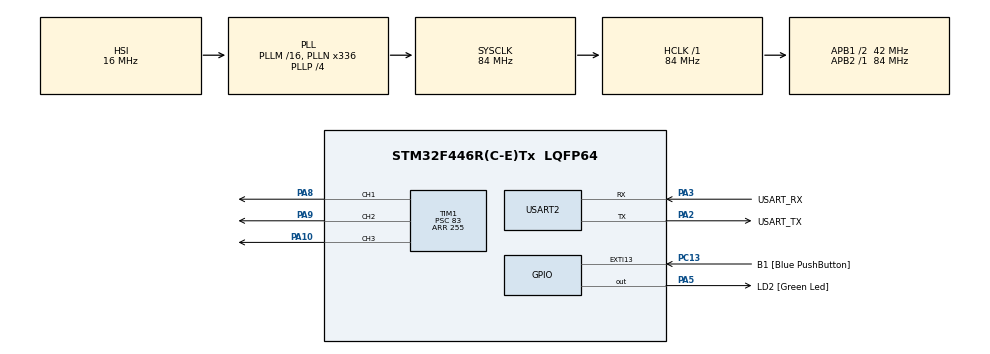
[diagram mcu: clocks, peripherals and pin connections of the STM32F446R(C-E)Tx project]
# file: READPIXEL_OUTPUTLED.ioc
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Mcu.Family=STM32F4
Mcu.Name=STM32F446R(C-E)Tx
Mcu.Package=LQFP64
NVIC.PriorityGroup=NVIC_PRIORITYGROUP_0
NVIC.USART2_IRQn=true\:0\:0\:false\:false\:true\:true\:true\:true
PA10.Signal=S_TIM1_CH3
PA13.GPIO_Label=TMS
PA13.Mode=Serial_Wire
PA13.Signal=SYS_JTMS-SWDIO
PA14.GPIO_Label=TCK
PA14.Mode=Serial_Wire
PA14.Signal=SYS_JTCK-SWCLK
PA2.GPIO_Label=USART_TX
PA2.Mode=Asynchronous
PA2.Signal=USART2_TX
PA3.GPIO_Label=USART_RX
PA3.Mode=Asynchronous
PA3.Signal=USART2_RX
PA5.GPIO_Label=LD2 [Green Led]
PA5.Signal=GPIO_Output
PA8.Signal=S_TIM1_CH1
PA9.Signal=S_TIM1_CH2
PB3.GPIO_Label=SWO
PB3.Signal=SYS_JTDO-SWO
PC13.GPIO_Label=B1 [Blue PushButton]
PC13.GPIO_ModeDefaultEXTI=GPIO_MODE_IT_FALLING
PC13.Signal=GPXTI13
PC14-OSC32_IN.Signal=RCC_OSC32_IN
PC15-OSC32_OUT.Signal=RCC_OSC32_OUT
PH0-OSC_IN.Signal=RCC_OSC_IN
PH1-OSC_OUT.Signal=RCC_OSC_OUT
ProjectManager.HeapSize=0x200
ProjectManager.StackSize=0x400
ProjectManager.TargetToolchain=STM32CubeIDE
RCC.48MHZClocksFreq_Value=84000000
RCC.AHBFreq_Value=84000000
RCC.APB1CLKDivider=RCC_HCLK_DIV2
RCC.APB1Freq_Value=42000000
RCC.APB1TimFreq_Value=84000000
RCC.APB2Freq_Value=84000000
RCC.APB2TimFreq_Value=84000000
RCC.CortexFreq_Value=84000000
RCC.FLatency-AdvancedSettings=FLASH_LATENCY_2
RCC.HCLKFreq_Value=84000000
RCC.HSE_VALUE=8000000
RCC.HSI_VALUE=16000000
RCC.PLLN=336
RCC.PLLP=RCC_PLLP_DIV4
RCC.SYSCLKFreq_VALUE=84000000
RCC.SYSCLKSource=RCC_SYSCLKSOURCE_PLLCLK
RCC.USBFreq_Value=168000000
RCC.VCOOutputFreq_Value=336000000
SH.S_TIM1_CH1.0=TIM1_CH1,PWM Generation1 CH1
SH.S_TIM1_CH2.0=TIM1_CH2,PWM Generation2 CH2
SH.S_TIM1_CH3.0=TIM1_CH3,PWM Generation3 CH3
TIM1.Channel-PWM\ Generation1\ CH1=TIM_CHANNEL_1
TIM1.Channel-PWM\ Generation2\ CH2=TIM_CHANNEL_2
TIM1.Channel-PWM\ Generation3\ CH3=TIM_CHANNEL_3
TIM1.Period=255
TIM1.Prescaler=83
USART2.VirtualMode=VM_ASYNC
VP_TIM1_VS_ClockSourceINT.Mode=Internal
board=NUCLEO-F446RE

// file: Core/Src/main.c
/* USER CODE BEGIN Header */
/**
  ******************************************************************************
  * @file           : main.c
  * @brief          : Main program body
  ******************************************************************************
  * @attention
  *
  * Copyright (c) 2026 STMicroelectronics.
  * All rights reserved.
  *
  * This software is licensed under terms that can be found in the LICENSE file
  * in the root directory of this software component.
  * If no LICENSE file comes with this software, it is provided AS-IS.
  *
  ******************************************************************************
  */
/* USER CODE END Header */
#include "main.h"

TIM_HandleTypeDef htim1;

UART_HandleTypeDef huart2;

/* USER CODE BEGIN PV */
uint8_t rx_buffer[3]; // R, G, B 데이터를 저장할 배열

// 2.2 감마 곡선을 미리 계산한 256바이트 룩업 테이블
uint8_t gamma_table[256] = {
    0, 0, 0, 0, 0, 1, 1, 1, 2, 2, 2, 3, 3, 3, 4, 4,
    4, 5, 5, 5, 6, 6, 6, 7, 7, 7, 8, 8, 9, 9, 10, 10,
    11, 11, 11, 12, 12, 13, 13, 14, 14, 15, 15, 16, 16, 17, 17, 18,
    18, 19, 19, 20, 20, 21, 21, 22, 22, 23, 23, 24, 25, 25, 26, 26,
    27, 27, 28, 29, 29, 30, 31, 31, 32, 33, 33, 34, 35, 35, 36, 37,
    37, 38, 39, 40, 40, 41, 42, 43, 43, 44, 45, 46, 47, 47, 48, 49,
    50, 51, 52, 52, 53, 54, 55, 56, 57, 58, 59, 60, 61, 62, 63, 63,
    64, 65, 66, 67, 68, 69, 70, 71, 72, 73, 75, 76, 77, 78, 79, 80,
    81, 82, 83, 84, 86, 87, 88, 89, 90, 92, 93, 94, 95, 96, 98, 99,
    100, 101, 103, 104, 105, 107, 108, 109, 110, 112, 113, 114, 116, 117, 119, 120,
    121, 123, 124, 126, 127, 128, 130, 131, 133, 134, 136, 137, 139, 140, 142, 143,
    145, 146, 148, 149, 151, 152, 154, 155, 157, 158, 160, 162, 163, 165, 166, 168,
    170, 171, 173, 175, 176, 178, 180, 181, 183, 185, 186, 188, 190, 192, 193, 195,
    197, 199, 200, 202, 204, 206, 208, 209, 211, 213, 215, 217, 219, 220, 222, 224,
    226, 228, 230, 232, 234, 236, 238, 240, 242, 244, 246, 248, 250, 252, 254, 255
};
/* USER CODE END PV */

void SystemClock_Config(void);
static void MX_GPIO_Init(void);
static void MX_USART2_UART_Init(void);
static void MX_TIM1_Init(void);

int main(void)
{

  /* MCU Configuration--------------------------------------------------------*/

  /* Reset of all peripherals, Initializes the Flash interface and the Systick. */
  HAL_Init();

  /* Configure the system clock */
  SystemClock_Config();

  /* Initialize all configured peripherals */
  MX_GPIO_Init();
  MX_USART2_UART_Init();
  MX_TIM1_Init();
  /* USER CODE BEGIN 2 */
  // PWM 출력 시작
    HAL_TIM_PWM_Start(&htim1, TIM_CHANNEL_1);
    HAL_TIM_PWM_Start(&htim1, TIM_CHANNEL_2);
    HAL_TIM_PWM_Start(&htim1, TIM_CHANNEL_3);

    // UART 인터럽트 수신 시작 (데이터 3바이트 대기)
    HAL_UART_Receive_IT(&huart2, rx_buffer, 3);
  /* USER CODE END 2 */

  /* Infinite loop */
  while (1)
  {

  }
}

void SystemClock_Config(void)
{
  RCC_OscInitTypeDef RCC_OscInitStruct = {0};
  RCC_ClkInitTypeDef RCC_ClkInitStruct = {0};

  /** Configure the main internal regulator output voltage
  */
  __HAL_RCC_PWR_CLK_ENABLE();
  __HAL_PWR_VOLTAGESCALING_CONFIG(PWR_REGULATOR_VOLTAGE_SCALE3);

  /** Initializes the RCC Oscillators according to the specified parameters
  * in the RCC_OscInitTypeDef structure.
  */
  RCC_OscInitStruct.OscillatorType = RCC_OSCILLATORTYPE_HSI;
  RCC_OscInitStruct.HSIState = RCC_HSI_ON;
  RCC_OscInitStruct.HSICalibrationValue = RCC_HSICALIBRATION_DEFAULT;
  RCC_OscInitStruct.PLL.PLLState = RCC_PLL_ON;
  RCC_OscInitStruct.PLL.PLLSource = RCC_PLLSOURCE_HSI;
  RCC_OscInitStruct.PLL.PLLM = 16;
  RCC_OscInitStruct.PLL.PLLN = 336;
  RCC_OscInitStruct.PLL.PLLP = RCC_PLLP_DIV4;
  RCC_OscInitStruct.PLL.PLLQ = 2;
  RCC_OscInitStruct.PLL.PLLR = 2;
  if (HAL_RCC_OscConfig(&RCC_OscInitStruct) != HAL_OK)
  {
    Error_Handler();
  }

  /** Initializes the CPU, AHB and APB buses clocks
  */
  RCC_ClkInitStruct.ClockType = RCC_CLOCKTYPE_HCLK|RCC_CLOCKTYPE_SYSCLK
                              |RCC_CLOCKTYPE_PCLK1|RCC_CLOCKTYPE_PCLK2;
  RCC_ClkInitStruct.SYSCLKSource = RCC_SYSCLKSOURCE_PLLCLK;
  RCC_ClkInitStruct.AHBCLKDivider = RCC_SYSCLK_DIV1;
  RCC_ClkInitStruct.APB1CLKDivider = RCC_HCLK_DIV2;
  RCC_ClkInitStruct.APB2CLKDivider = RCC_HCLK_DIV1;

  if (HAL_RCC_ClockConfig(&RCC_ClkInitStruct, FLASH_LATENCY_2) != HAL_OK)
  {
    Error_Handler();
  }
}

static void MX_TIM1_Init(void)
{

  TIM_ClockConfigTypeDef sClockSourceConfig = {0};
  TIM_MasterConfigTypeDef sMasterConfig = {0};
  TIM_OC_InitTypeDef sConfigOC = {0};
  TIM_BreakDeadTimeConfigTypeDef sBreakDeadTimeConfig = {0};

  htim1.Instance = TIM1;
  htim1.Init.Prescaler = 83;
  htim1.Init.CounterMode = TIM_COUNTERMODE_UP;
  htim1.Init.Period = 255;
  htim1.Init.ClockDivision = TIM_CLOCKDIVISION_DIV1;
  htim1.Init.RepetitionCounter = 0;
  htim1.Init.AutoReloadPreload = TIM_AUTORELOAD_PRELOAD_DISABLE;
  if (HAL_TIM_Base_Init(&htim1) != HAL_OK)
  {
    Error_Handler();
  }
  sClockSourceConfig.ClockSource = TIM_CLOCKSOURCE_INTERNAL;
  if (HAL_TIM_ConfigClockSource(&htim1, &sClockSourceConfig) != HAL_OK)
  {
    Error_Handler();
  }
  if (HAL_TIM_PWM_Init(&htim1) != HAL_OK)
  {
    Error_Handler();
  }
  sMasterConfig.MasterOutputTrigger = TIM_TRGO_RESET;
  sMasterConfig.MasterSlaveMode = TIM_MASTERSLAVEMODE_DISABLE;
  if (HAL_TIMEx_MasterConfigSynchronization(&htim1, &sMasterConfig) != HAL_OK)
  {
    Error_Handler();
  }
  sConfigOC.OCMode = TIM_OCMODE_PWM1;
  sConfigOC.Pulse = 0;
  sConfigOC.OCPolarity = TIM_OCPOLARITY_HIGH;
  sConfigOC.OCNPolarity = TIM_OCNPOLARITY_HIGH;
  sConfigOC.OCFastMode = TIM_OCFAST_DISABLE;
  sConfigOC.OCIdleState = TIM_OCIDLESTATE_RESET;
  sConfigOC.OCNIdleState = TIM_OCNIDLESTATE_RESET;
  if (HAL_TIM_PWM_ConfigChannel(&htim1, &sConfigOC, TIM_CHANNEL_1) != HAL_OK)
  {
    Error_Handler();
  }
  if (HAL_TIM_PWM_ConfigChannel(&htim1, &sConfigOC, TIM_CHANNEL_2) != HAL_OK)
  {
    Error_Handler();
  }
  if (HAL_TIM_PWM_ConfigChannel(&htim1, &sConfigOC, TIM_CHANNEL_3) != HAL_OK)
  {
    Error_Handler();
  }
  sBreakDeadTimeConfig.OffStateRunMode = TIM_OSSR_DISABLE;
  sBreakDeadTimeConfig.OffStateIDLEMode = TIM_OSSI_DISABLE;
  sBreakDeadTimeConfig.LockLevel = TIM_LOCKLEVEL_OFF;
  sBreakDeadTimeConfig.DeadTime = 0;
  sBreakDeadTimeConfig.BreakState = TIM_BREAK_DISABLE;
  sBreakDeadTimeConfig.BreakPolarity = TIM_BREAKPOLARITY_HIGH;
  sBreakDeadTimeConfig.AutomaticOutput = TIM_AUTOMATICOUTPUT_DISABLE;
  if (HAL_TIMEx_ConfigBreakDeadTime(&htim1, &sBreakDeadTimeConfig) != HAL_OK)
  {
    Error_Handler();
  }
  HAL_TIM_MspPostInit(&htim1);

}

static void MX_USART2_UART_Init(void)
{

  huart2.Instance = USART2;
  huart2.Init.BaudRate = 115200;
  huart2.Init.WordLength = UART_WORDLENGTH_8B;
  huart2.Init.StopBits = UART_STOPBITS_1;
  huart2.Init.Parity = UART_PARITY_NONE;
  huart2.Init.Mode = UART_MODE_TX_RX;
  huart2.Init.HwFlowCtl = UART_HWCONTROL_NONE;
  huart2.Init.OverSampling = UART_OVERSAMPLING_16;
  if (HAL_UART_Init(&huart2) != HAL_OK)
  {
    Error_Handler();
  }

}

static void MX_GPIO_Init(void)
{
  GPIO_InitTypeDef GPIO_InitStruct = {0};

  /* GPIO Ports Clock Enable */
  __HAL_RCC_GPIOC_CLK_ENABLE();
  __HAL_RCC_GPIOH_CLK_ENABLE();
  __HAL_RCC_GPIOA_CLK_ENABLE();
  __HAL_RCC_GPIOB_CLK_ENABLE();

  /*Configure GPIO pin Output Level */
  HAL_GPIO_WritePin(LD2_GPIO_Port, LD2_Pin, GPIO_PIN_RESET);

  /*Configure GPIO pin : B1_Pin */
  GPIO_InitStruct.Pin = B1_Pin;
  GPIO_InitStruct.Mode = GPIO_MODE_IT_FALLING;
  GPIO_InitStruct.Pull = GPIO_NOPULL;
  HAL_GPIO_Init(B1_GPIO_Port, &GPIO_InitStruct);

  /*Configure GPIO pin : LD2_Pin */
  GPIO_InitStruct.Pin = LD2_Pin;
  GPIO_InitStruct.Mode = GPIO_MODE_OUTPUT_PP;
  GPIO_InitStruct.Pull = GPIO_NOPULL;
  GPIO_InitStruct.Speed = GPIO_SPEED_FREQ_LOW;
  HAL_GPIO_Init(LD2_GPIO_Port, &GPIO_InitStruct);

}

/* USER CODE BEGIN 4 */
extern uint8_t rx_buffer[3];
extern TIM_HandleTypeDef htim1;

void HAL_UART_RxCpltCallback(UART_HandleTypeDef *huart) {
    if (huart->Instance == USART2) {
        // [R, G, B] 데이터를 실제 핀에 맞게 매핑
        // rx_buffer[0] = R (PA8 -> CH1)
        // rx_buffer[1] = G (PA10 -> CH3)
        // rx_buffer[2] = B (PA9 -> CH2)

        __HAL_TIM_SET_COMPARE(&htim1, TIM_CHANNEL_1, rx_buffer[0]); // R to PA8
        __HAL_TIM_SET_COMPARE(&htim1, TIM_CHANNEL_2, rx_buffer[2]); // B to PA9
        __HAL_TIM_SET_COMPARE(&htim1, TIM_CHANNEL_3, rx_buffer[1]); // G to PA10

        // 다음 데이터 수신 대기
        HAL_UART_Receive_IT(huart, rx_buffer, 3);
    }
}
/* USER CODE END 4 */

void Error_Handler(void)
{
  __disable_irq();
  while (1)
  {
  }
}
